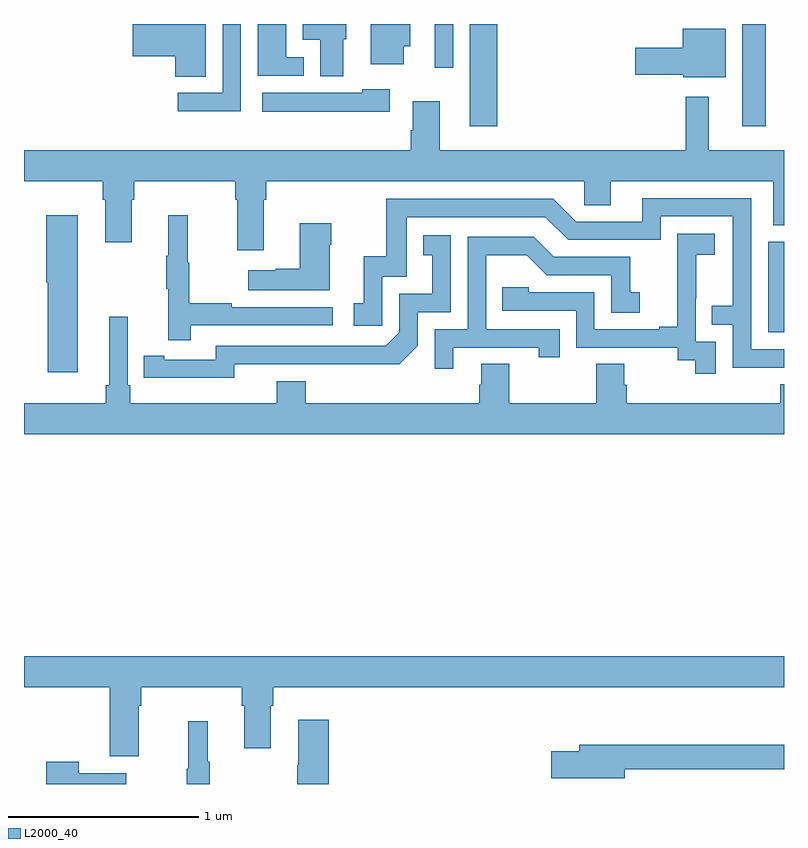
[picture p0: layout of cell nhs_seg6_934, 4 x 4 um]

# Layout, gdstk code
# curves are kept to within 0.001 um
import gdstk
lib = gdstk.Library(unit=1e-6, precision=1e-09)
def R(c, l, rs):  # rectangles x0, y0, x1, y1
    for r in rs: c.add(gdstk.rectangle(r[:2], r[2:], *l))
def P(c, l, *ps):  # polygons
    for p in ps: c.add(gdstk.Polygon(p, *l))
L2000_40 = (2000, 40)

nhs_seg6_934 = lib.new_cell('nhs_seg6_934')
R(nhs_seg6_934, L2000_40, [(172.917,943.878,173,944.355), (171.347,944.961,171.491,945.5), (172.781,944.961,172.903,945.5), (171.162,945.27,171.258,945.5)])
P(nhs_seg6_934, L2000_40, [(170.68,945.42),(170.695,945.42),(170.695,945.5),(170.468,945.5),(170.468,945.416),(170.558,945.416),(170.558,945.224),(170.68,945.224)],
  [(170.998,945.383),(171.034,945.383),(171.034,945.5),(170.825,945.5),(170.825,945.287),(170.998,945.287)],
  [(170.142,945.5),(170.046,945.5),(170.046,945.138),(169.809,945.138),(169.809,945.041),(170.142,945.041)],
  [(170.473,945.324),(170.38,945.324),(170.38,945.5),(170.231,945.5),(170.231,945.228),(170.473,945.228)],
  [(169.957,945.5),(169.572,945.5),(169.572,945.329),(169.796,945.329),(169.796,945.223),(169.957,945.223)],
  [(172.693,945.475),(172.466,945.475),(172.466,945.374),(172.218,945.374),(172.218,945.232),(172.47,945.232),(172.47,945.221),(172.693,945.221)],
  [(170.926,945.157),(170.781,945.157),(170.781,945.139),(170.253,945.139),(170.253,945.038),(170.926,945.038)],
  [(169,944.672),(169.415,944.672),(169.415,944.576),(169.427,944.576),(169.427,944.352),(169.567,944.352),(169.567,944.576),(169.58,944.576),(169.58,944.672),(170.111,944.672),(170.111,944.576),(170.123,944.576),(170.123,944.31),(170.263,944.31),(170.263,944.576),(170.276,944.576),(170.276,944.672),(171.948,944.672),(171.948,944.545),(172.087,944.545),(172.087,944.672),(172.943,944.672),(172.943,944.44),(173,944.44),(173,944.836),(172.603,944.836),(172.603,945.118),(172.482,945.118),(172.482,944.836),(171.187,944.836),(171.187,945.094),(171.047,945.094),(171.047,944.942),(171.035,944.942),(171.035,944.836),(169,944.836)],
  [(173,943.788),(172.827,943.788),(172.827,944.583),(172.253,944.583),(172.253,944.46),(171.906,944.46),(171.786,944.58),(170.907,944.58),(170.907,944.278),(170.789,944.278),(170.789,944.031),(170.736,944.031),(170.736,943.911),(170.886,943.911),(170.886,944.169),(171.015,944.169),(171.015,944.484),(171.744,944.484),(171.864,944.364),(172.35,944.364),(172.35,944.487),(172.731,944.487),(172.731,944.018),(172.621,944.018),(172.621,943.917),(172.731,943.917),(172.731,943.692),(173,943.692)],
  [(169.282,944.494),(169.118,944.494),(169.118,944.142),(169.124,944.142),(169.124,943.668),(169.282,943.668)],
  [(169.877,943.914),(170.626,943.914),(170.626,944.01),(170.093,944.01),(170.093,944.03),(169.87,944.03),(169.87,944.244),(169.862,944.244),(169.862,944.494),(169.76,944.494),(169.76,944.281),(169.749,944.281),(169.749,944.107),(169.76,944.107),(169.76,943.836),(169.877,943.836)],
  [(170.608,944.339),(170.616,944.339),(170.616,944.452),(170.45,944.452),(170.45,944.213),(170.324,944.213),(170.324,944.203),(170.181,944.203),(170.181,944.099),(170.608,944.099)],
  [(172.641,943.827),(172.536,943.827),(172.536,944.057),(172.538,944.057),(172.538,944.285),(172.636,944.285),(172.636,944.395),(172.438,944.395),(172.438,944.189),(172.439,944.189),(172.439,943.906),(172.343,943.906),(172.343,943.893),(172.002,943.893),(172.002,944.088),(171.657,944.088),(171.657,944.115),(171.517,944.115),(171.517,943.992),(171.906,943.992),(171.906,943.797),(172.44,943.797),(172.44,943.729),(172.533,943.729),(172.533,943.659),(172.641,943.659)],
  [(170.106,943.71),(170.974,943.709),(171.072,943.806),(171.072,943.983),(171.246,943.983),(171.246,944.389),(171.1,944.389),(171.1,944.283),(171.149,944.283),(171.149,944.079),(170.976,944.079),(170.976,943.878),(170.904,943.806),(170.01,943.806),(170.01,943.734),(169.738,943.734),(169.738,943.754),(169.63,943.754),(169.63,943.638),(170.106,943.637)],
  [(171.259,943.797),(171.71,943.797),(171.71,943.746),(171.821,943.746),(171.821,943.893),(171.432,943.893),(171.432,944.282),(171.646,944.282),(171.75,944.178),(172.092,944.178),(172.092,943.98),(172.24,943.98),(172.24,944.089),(172.191,944.089),(172.191,944.274),(171.787,944.274),(171.682,944.379),(171.336,944.379),(171.336,943.893),(171.162,943.893),(171.162,943.686),(171.259,943.686)],
  [(173,943.603),(172.979,943.603),(172.979,943.504),(172.172,943.504),(172.172,943.602),(172.159,943.602),(172.159,943.712),(172.012,943.712),(172.012,943.504),(171.555,943.504),(171.555,943.712),(171.407,943.712),(171.407,943.602),(171.395,943.602),(171.395,943.504),(170.483,943.504),(170.483,943.621),(170.33,943.621),(170.33,943.504),(169.559,943.504),(169.559,943.6),(169.545,943.6),(169.545,943.96),(169.448,943.96),(169.448,943.6),(169.429,943.6),(169.429,943.504),(169,943.504),(169,943.34),(173,943.34)],
  [(169.603,941.912),(169.616,941.912),(169.616,942.008),(170.147,942.008),(170.147,941.912),(170.159,941.912),(170.159,941.688),(170.299,941.688),(170.299,941.912),(170.312,941.912),(170.312,942.008),(173,942.008),(173,942.172),(169,942.172),(169,942.008),(169.451,942.008),(169.451,941.646),(169.603,941.646)],
  [(170.603,941.839),(170.444,941.839),(170.444,941.6),(170.437,941.6),(170.437,941.5),(170.603,941.5)],
  [(169.978,941.617),(169.967,941.617),(169.967,941.83),(169.864,941.83),(169.864,941.58),(169.857,941.58),(169.857,941.5),(169.978,941.5)],
  [(172.162,941.578),(173,941.578),(173,941.707),(171.923,941.707),(171.923,941.673),(171.774,941.673),(171.774,941.531),(172.162,941.531)],
  [(169.537,941.557),(169.289,941.557),(169.289,941.617),(169.118,941.617),(169.118,941.5),(169.537,941.5)])

lib.write_gds('nhs_seg6_934.gds')
